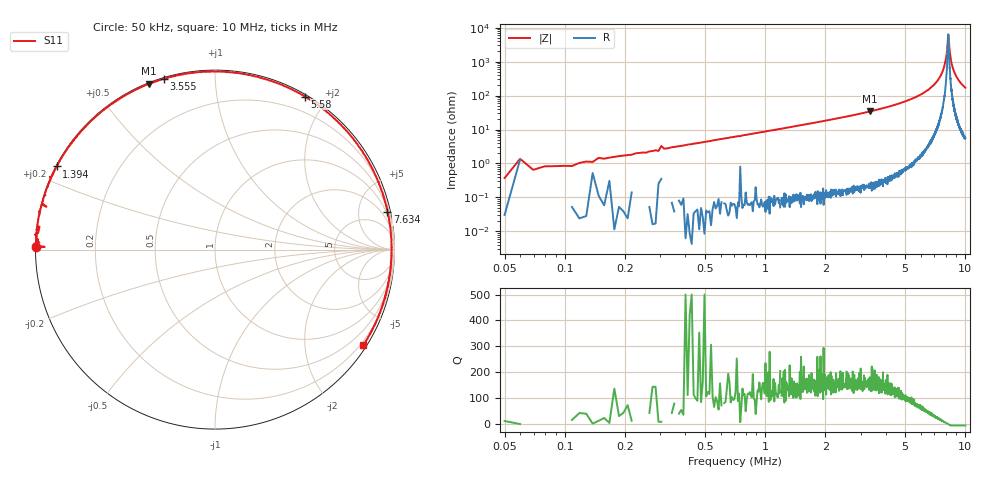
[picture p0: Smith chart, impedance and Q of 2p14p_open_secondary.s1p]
# HZ S RI R 50
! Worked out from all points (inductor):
!   1023 points, 50 kHz to 10 MHz, reference 50 ohm
!   read as one part to ground: L = 1.4 uH near 98.68 kHz
!   highest Q = 164 at 3.331 MHz (marker M1), where L = 1.62 uH
!   self-resonance near 8.209 MHz
!   S11 on the Smith chart (normalised r, x): 50 kHz: 0.00, +0.01; 1.394 MHz: 0.00, +0.25; 3.555 MHz: 0.00, +0.75; 5.58 MHz: 0.02, +1.75; 7.634 MHz: 0.73, +9.20; 10 MHz: 0.11, -3.40
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50000  -0.9987 0.0148
361552  -0.9927 0.1252
663368  -0.9723 0.2277
1296208  -0.8984 0.4316
1393568  -0.883 0.4632
1938784  -0.7768 0.6245
2542416  -0.621 0.7771
2951328  -0.496 0.8633
3331032  -0.3661 0.9251
3554960  -0.2837 0.9523
3788624  -0.1969 0.9745
4090440  -0.0771 0.9884
4382520  0.039 0.9911
4674600  0.1564 0.9797
5025096  0.2948 0.9462
5336648  0.4133 0.8995
5580048  0.5018 0.8519
5930544  0.62 0.7713
6271304  0.7195 0.6747
6641272  0.813 0.5581
6904144  0.8672 0.4707
7235168  0.921 0.3536
7517512  0.9524 0.2515
7634344  0.9605 0.2099
8169824  0.9842 0.0179
8763720  0.9656 -0.1832
9416032  0.9061 -0.3817
1.000019e7  0.8262 -0.5315
